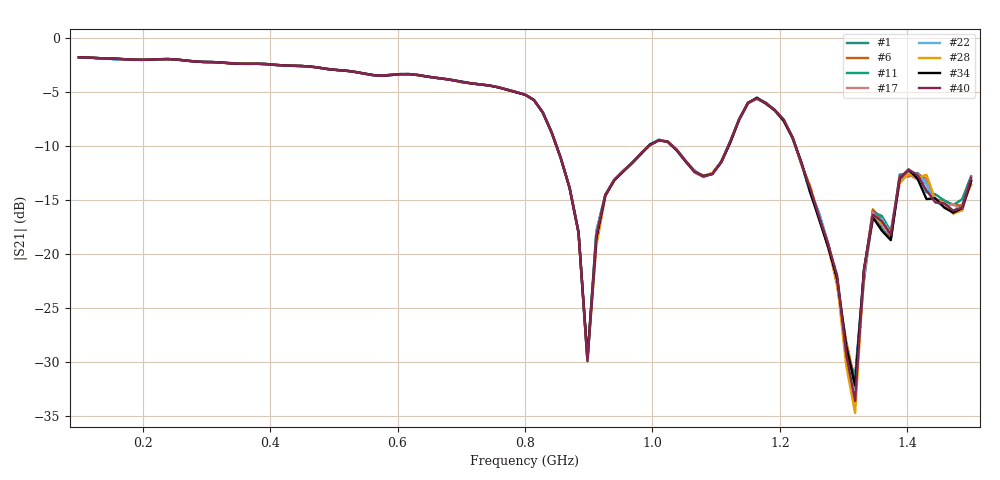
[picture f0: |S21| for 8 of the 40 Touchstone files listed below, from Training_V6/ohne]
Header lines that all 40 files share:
! NanoVNA-App
! Start: 100MHz Stop: 1,5GHz Points: 101
! S-Parameter data: F S11 S21 S12 S22
# Hz S RI R 50
!  Frequency  S11_Real  S11_Imag  S21_Real  S21_Imag  S12_Real  S12_Imag  S22_Real  S22_Imag
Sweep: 100 MHz to 1.5 GHz
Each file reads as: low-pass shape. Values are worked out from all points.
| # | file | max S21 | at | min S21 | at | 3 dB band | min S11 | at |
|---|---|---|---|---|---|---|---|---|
| 1 | ohne (201).s2p | -1.79 dB | 100 MHz | -31.4 dB | 1.318 GHz | 100 MHz-758 MHz | -41.1 dB | 716 MHz |
| 2 | ohne (202).s2p | -1.79 dB | 100 MHz | -34.1 dB | 1.318 GHz | 100 MHz-758 MHz | -40.1 dB | 716 MHz |
| 3 | ohne (203).s2p | -1.79 dB | 100 MHz | -33.7 dB | 1.318 GHz | 100 MHz-758 MHz | -40.1 dB | 716 MHz |
| 4 | ohne (204).s2p | -1.79 dB | 100 MHz | -34.3 dB | 1.318 GHz | 100 MHz-758 MHz | -41.2 dB | 716 MHz |
| 5 | ohne (205).s2p | -1.79 dB | 100 MHz | -34.3 dB | 1.318 GHz | 100 MHz-758 MHz | -40.4 dB | 716 MHz |
| 6 | ohne (206).s2p | -1.79 dB | 100 MHz | -32.0 dB | 1.318 GHz | 100 MHz-758 MHz | -41.0 dB | 716 MHz |
| 7 | ohne (207).s2p | -1.79 dB | 100 MHz | -32.6 dB | 1.318 GHz | 100 MHz-758 MHz | -41.0 dB | 716 MHz |
| 8 | ohne (208).s2p | -1.79 dB | 100 MHz | -32.5 dB | 1.318 GHz | 100 MHz-758 MHz | -40.8 dB | 716 MHz |
| 9 | ohne (209).s2p | -1.79 dB | 100 MHz | -32.0 dB | 1.318 GHz | 100 MHz-758 MHz | -41.1 dB | 716 MHz |
| 10 | ohne (210).s2p | -1.79 dB | 100 MHz | -33.2 dB | 1.318 GHz | 100 MHz-758 MHz | -41.2 dB | 716 MHz |
| 11 | ohne (211).s2p | -1.79 dB | 100 MHz | -31.5 dB | 1.318 GHz | 100 MHz-758 MHz | -41.2 dB | 716 MHz |
| 12 | ohne (212).s2p | -1.79 dB | 100 MHz | -35.8 dB | 1.318 GHz | 100 MHz-758 MHz | -40.7 dB | 716 MHz |
| 13 | ohne (213).s2p | -1.79 dB | 100 MHz | -32.2 dB | 1.318 GHz | 100 MHz-758 MHz | -41.2 dB | 716 MHz |
| 14 | ohne (214).s2p | -1.79 dB | 100 MHz | -32.1 dB | 1.318 GHz | 100 MHz-758 MHz | -41.1 dB | 716 MHz |
| 15 | ohne (215).s2p | -1.79 dB | 100 MHz | -32.9 dB | 1.318 GHz | 100 MHz-758 MHz | -40.1 dB | 716 MHz |
| 16 | ohne (216).s2p | -1.79 dB | 100 MHz | -32.8 dB | 1.318 GHz | 100 MHz-758 MHz | -40.2 dB | 716 MHz |
| 17 | ohne (217).s2p | -1.79 dB | 100 MHz | -32.4 dB | 1.318 GHz | 100 MHz-758 MHz | -40.1 dB | 716 MHz |
| 18 | ohne (218).s2p | -1.79 dB | 100 MHz | -32.2 dB | 1.318 GHz | 100 MHz-758 MHz | -40.8 dB | 716 MHz |
| 19 | ohne (219).s2p | -1.79 dB | 100 MHz | -32.9 dB | 1.318 GHz | 100 MHz-758 MHz | -40.0 dB | 716 MHz |
| 20 | ohne (220).s2p | -1.79 dB | 100 MHz | -33.8 dB | 1.318 GHz | 100 MHz-758 MHz | -41.1 dB | 716 MHz |
| 21 | ohne (221).s2p | -1.79 dB | 100 MHz | -33.6 dB | 1.318 GHz | 100 MHz-758 MHz | -40.5 dB | 716 MHz |
| 22 | ohne (222).s2p | -1.79 dB | 100 MHz | -32.5 dB | 1.318 GHz | 100 MHz-772 MHz | -40.5 dB | 716 MHz |
| 23 | ohne (223).s2p | -1.79 dB | 100 MHz | -33.7 dB | 1.318 GHz | 100 MHz-758 MHz | -40.9 dB | 716 MHz |
| 24 | ohne (224).s2p | -1.79 dB | 100 MHz | -33.9 dB | 1.318 GHz | 100 MHz-758 MHz | -41.0 dB | 716 MHz |
| 25 | ohne (225).s2p | -1.79 dB | 100 MHz | -32.7 dB | 1.318 GHz | 100 MHz-758 MHz | -41.2 dB | 716 MHz |
| 26 | ohne (226).s2p | -1.79 dB | 100 MHz | -32.2 dB | 1.318 GHz | 100 MHz-758 MHz | -41.3 dB | 716 MHz |
| 27 | ohne (227).s2p | -1.79 dB | 100 MHz | -32.9 dB | 1.318 GHz | 100 MHz-772 MHz | -40.9 dB | 716 MHz |
| 28 | ohne (228).s2p | -1.79 dB | 100 MHz | -34.8 dB | 1.318 GHz | 100 MHz-758 MHz | -41.4 dB | 716 MHz |
| 29 | ohne (229).s2p | -1.79 dB | 100 MHz | -31.9 dB | 1.318 GHz | 100 MHz-758 MHz | -40.2 dB | 716 MHz |
| 30 | ohne (230).s2p | -1.79 dB | 100 MHz | -32.2 dB | 1.318 GHz | 100 MHz-758 MHz | -41.3 dB | 716 MHz |
| 31 | ohne (231).s2p | -1.79 dB | 100 MHz | -32.6 dB | 1.318 GHz | 100 MHz-758 MHz | -40.1 dB | 716 MHz |
| 32 | ohne (232).s2p | -1.79 dB | 100 MHz | -33.9 dB | 1.318 GHz | 100 MHz-758 MHz | -41.2 dB | 716 MHz |
| 33 | ohne (233).s2p | -1.79 dB | 100 MHz | -31.4 dB | 1.318 GHz | 100 MHz-758 MHz | -41.3 dB | 716 MHz |
| 34 | ohne (234).s2p | -1.79 dB | 100 MHz | -32.2 dB | 1.318 GHz | 100 MHz-758 MHz | -41.1 dB | 716 MHz |
| 35 | ohne (235).s2p | -1.79 dB | 100 MHz | -33.3 dB | 1.318 GHz | 100 MHz-758 MHz | -41.1 dB | 716 MHz |
| 36 | ohne (236).s2p | -1.79 dB | 100 MHz | -34.5 dB | 1.318 GHz | 100 MHz-758 MHz | -39.9 dB | 716 MHz |
| 37 | ohne (237).s2p | -1.79 dB | 100 MHz | -32.5 dB | 1.318 GHz | 100 MHz-758 MHz | -41.3 dB | 716 MHz |
| 38 | ohne (238).s2p | -1.79 dB | 100 MHz | -33.9 dB | 1.318 GHz | 100 MHz-758 MHz | -40.0 dB | 716 MHz |
| 39 | ohne (239).s2p | -1.79 dB | 100 MHz | -34.0 dB | 1.318 GHz | 100 MHz-758 MHz | -41.0 dB | 716 MHz |
| 40 | ohne (240).s2p | -1.79 dB | 100 MHz | -33.6 dB | 1.318 GHz | 100 MHz-772 MHz | -40.1 dB | 716 MHz |
